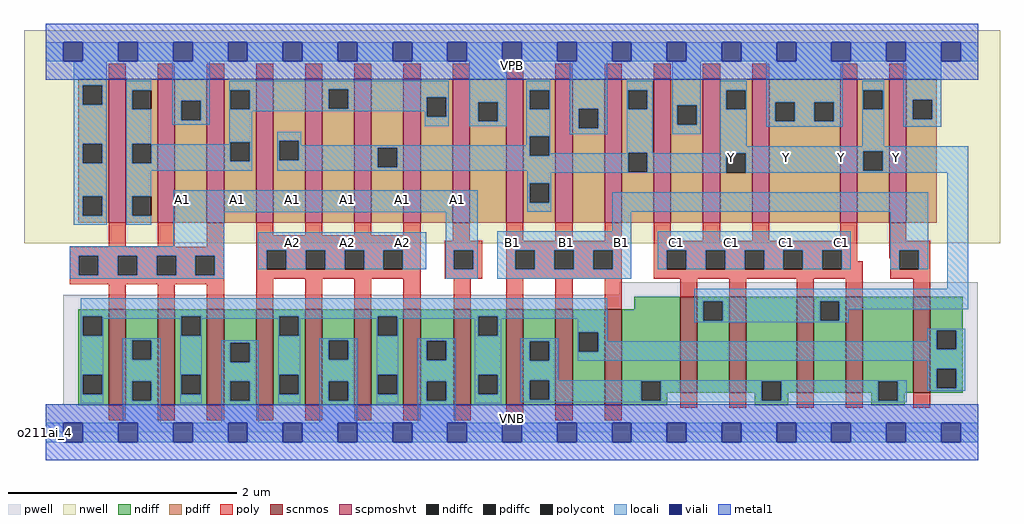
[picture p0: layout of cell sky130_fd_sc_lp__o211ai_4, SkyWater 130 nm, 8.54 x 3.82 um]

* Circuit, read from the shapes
.subckt sky130_fd_sc_lp__o211ai_4 A1 A2 B1 C1 VGND VNB VPB VPWR Y
XM1 VGND A1 n1 VNB sky130_fd_pr__nfet_01v8 w=0.84 l=0.15 m=4
XM2 n1 A2 VGND VNB sky130_fd_pr__nfet_01v8 w=0.84 l=0.15 m=4
XM3 n2 B1 n1 VNB sky130_fd_pr__nfet_01v8 w=0.84 l=0.15 m=4
XM4 Y C1 n2 VNB sky130_fd_pr__nfet_01v8 w=0.84 l=0.15 m=4
XM5 n3 A1 VPWR VPB sky130_fd_pr__pfet_01v8_hvt w=1.26 l=0.15 m=4
XM6 Y A2 n3 VPB sky130_fd_pr__pfet_01v8_hvt w=1.26 l=0.15 m=4
XM7 Y B1 VPWR VPB sky130_fd_pr__pfet_01v8_hvt w=1.26 l=0.15 m=4
XM8 VPWR C1 Y VPB sky130_fd_pr__pfet_01v8_hvt w=1.26 l=0.15 m=4
.ends

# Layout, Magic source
magic
tech sky130A
magscale 1 2
<< nwell >>
rect -38 331 1670 704
<< pwell >>
rect 1004 241 1631 263
rect 31 49 1631 241
rect 0 0 1632 49
<< scnmos >>
rect 110 47 140 215
rect 196 47 226 215
rect 282 47 312 215
rect 368 47 398 215
rect 454 47 484 215
rect 540 47 570 215
rect 626 47 656 215
rect 714 47 744 215
rect 806 47 836 215
rect 892 47 922 215
rect 978 47 1008 215
rect 1110 69 1140 237
rect 1196 69 1226 237
rect 1314 69 1344 237
rect 1400 69 1430 237
rect 1518 69 1548 237
<< scpmoshvt >>
rect 110 367 140 619
rect 196 367 226 619
rect 282 367 312 619
rect 368 367 398 619
rect 454 367 484 619
rect 540 367 570 619
rect 626 367 656 619
rect 712 367 742 619
rect 806 367 836 619
rect 892 367 922 619
rect 978 367 1008 619
rect 1064 367 1094 619
rect 1150 367 1180 619
rect 1236 367 1266 619
rect 1390 367 1420 619
rect 1476 367 1506 619
<< ndiff >>
rect 1030 215 1110 237
rect 57 203 110 215
rect 57 169 65 203
rect 99 169 110 203
rect 57 101 110 169
rect 57 67 65 101
rect 99 67 110 101
rect 57 47 110 67
rect 140 161 196 215
rect 140 127 151 161
rect 185 127 196 161
rect 140 89 196 127
rect 140 55 151 89
rect 185 55 196 89
rect 140 47 196 55
rect 226 203 282 215
rect 226 169 237 203
rect 271 169 282 203
rect 226 101 282 169
rect 226 67 237 101
rect 271 67 282 101
rect 226 47 282 67
rect 312 157 368 215
rect 312 123 323 157
rect 357 123 368 157
rect 312 89 368 123
rect 312 55 323 89
rect 357 55 368 89
rect 312 47 368 55
rect 398 203 454 215
rect 398 169 409 203
rect 443 169 454 203
rect 398 101 454 169
rect 398 67 409 101
rect 443 67 454 101
rect 398 47 454 67
rect 484 161 540 215
rect 484 127 495 161
rect 529 127 540 161
rect 484 89 540 127
rect 484 55 495 89
rect 529 55 540 89
rect 484 47 540 55
rect 570 203 626 215
rect 570 169 581 203
rect 615 169 626 203
rect 570 101 626 169
rect 570 67 581 101
rect 615 67 626 101
rect 570 47 626 67
rect 656 160 714 215
rect 656 126 667 160
rect 701 126 714 160
rect 656 89 714 126
rect 656 55 667 89
rect 701 55 714 89
rect 656 47 714 55
rect 744 203 806 215
rect 744 169 757 203
rect 791 169 806 203
rect 744 101 806 169
rect 744 67 757 101
rect 791 67 806 101
rect 744 47 806 67
rect 836 159 892 215
rect 836 125 847 159
rect 881 125 892 159
rect 836 91 892 125
rect 836 57 847 91
rect 881 57 892 91
rect 836 47 892 57
rect 922 175 978 215
rect 922 141 933 175
rect 967 141 978 175
rect 922 47 978 141
rect 1008 89 1110 215
rect 1008 55 1042 89
rect 1076 69 1110 89
rect 1140 229 1196 237
rect 1140 195 1151 229
rect 1185 195 1196 229
rect 1140 69 1196 195
rect 1226 89 1314 237
rect 1226 69 1253 89
rect 1076 55 1088 69
rect 1008 47 1088 55
rect 1241 55 1253 69
rect 1287 69 1314 89
rect 1344 229 1400 237
rect 1344 195 1355 229
rect 1389 195 1400 229
rect 1344 69 1400 195
rect 1430 89 1518 237
rect 1430 69 1457 89
rect 1287 55 1299 69
rect 1241 47 1299 55
rect 1445 55 1457 69
rect 1491 69 1518 89
rect 1548 179 1605 237
rect 1548 145 1559 179
rect 1593 145 1605 179
rect 1548 111 1605 145
rect 1548 77 1559 111
rect 1593 77 1605 111
rect 1548 69 1605 77
rect 1491 55 1503 69
rect 1445 47 1503 55
<< pdiff >>
rect 57 607 110 619
rect 57 573 65 607
rect 99 573 110 607
rect 57 505 110 573
rect 57 471 65 505
rect 99 471 110 505
rect 57 413 110 471
rect 57 379 65 413
rect 99 379 110 413
rect 57 367 110 379
rect 140 599 196 619
rect 140 565 151 599
rect 185 565 196 599
rect 140 505 196 565
rect 140 471 151 505
rect 185 471 196 505
rect 140 413 196 471
rect 140 379 151 413
rect 185 379 196 413
rect 140 367 196 379
rect 226 580 282 619
rect 226 546 237 580
rect 271 546 282 580
rect 226 367 282 546
rect 312 599 368 619
rect 312 565 323 599
rect 357 565 368 599
rect 312 508 368 565
rect 312 474 323 508
rect 357 474 368 508
rect 312 367 368 474
rect 398 510 454 619
rect 398 476 409 510
rect 443 476 454 510
rect 398 367 454 476
rect 484 600 540 619
rect 484 566 495 600
rect 529 566 540 600
rect 484 367 540 566
rect 570 498 626 619
rect 570 464 581 498
rect 615 464 626 498
rect 570 367 626 464
rect 656 586 712 619
rect 656 552 667 586
rect 701 552 712 586
rect 656 367 712 552
rect 742 578 806 619
rect 742 544 757 578
rect 791 544 806 578
rect 742 367 806 544
rect 836 599 892 619
rect 836 565 847 599
rect 881 565 892 599
rect 836 518 892 565
rect 836 484 847 518
rect 881 484 892 518
rect 836 436 892 484
rect 836 402 847 436
rect 881 402 892 436
rect 836 367 892 402
rect 922 566 978 619
rect 922 532 933 566
rect 967 532 978 566
rect 922 367 978 532
rect 1008 599 1064 619
rect 1008 565 1019 599
rect 1053 565 1064 599
rect 1008 489 1064 565
rect 1008 455 1019 489
rect 1053 455 1064 489
rect 1008 367 1064 455
rect 1094 572 1150 619
rect 1094 538 1105 572
rect 1139 538 1150 572
rect 1094 367 1150 538
rect 1180 599 1236 619
rect 1180 565 1191 599
rect 1225 565 1236 599
rect 1180 488 1236 565
rect 1180 454 1191 488
rect 1225 454 1236 488
rect 1180 367 1236 454
rect 1266 578 1390 619
rect 1266 544 1277 578
rect 1311 544 1345 578
rect 1379 544 1390 578
rect 1266 367 1390 544
rect 1420 599 1476 619
rect 1420 565 1431 599
rect 1465 565 1476 599
rect 1420 492 1476 565
rect 1420 458 1431 492
rect 1465 458 1476 492
rect 1420 367 1476 458
rect 1506 582 1559 619
rect 1506 548 1517 582
rect 1551 548 1559 582
rect 1506 367 1559 548
<< ndiffc >>
rect 65 169 99 203
rect 65 67 99 101
rect 151 127 185 161
rect 151 55 185 89
rect 237 169 271 203
rect 237 67 271 101
rect 323 123 357 157
rect 323 55 357 89
rect 409 169 443 203
rect 409 67 443 101
rect 495 127 529 161
rect 495 55 529 89
rect 581 169 615 203
rect 581 67 615 101
rect 667 126 701 160
rect 667 55 701 89
rect 757 169 791 203
rect 757 67 791 101
rect 847 125 881 159
rect 847 57 881 91
rect 933 141 967 175
rect 1042 55 1076 89
rect 1151 195 1185 229
rect 1253 55 1287 89
rect 1355 195 1389 229
rect 1457 55 1491 89
rect 1559 145 1593 179
rect 1559 77 1593 111
<< pdiffc >>
rect 65 573 99 607
rect 65 471 99 505
rect 65 379 99 413
rect 151 565 185 599
rect 151 471 185 505
rect 151 379 185 413
rect 237 546 271 580
rect 323 565 357 599
rect 323 474 357 508
rect 409 476 443 510
rect 495 566 529 600
rect 581 464 615 498
rect 667 552 701 586
rect 757 544 791 578
rect 847 565 881 599
rect 847 484 881 518
rect 847 402 881 436
rect 933 532 967 566
rect 1019 565 1053 599
rect 1019 455 1053 489
rect 1105 538 1139 572
rect 1191 565 1225 599
rect 1191 454 1225 488
rect 1277 544 1311 578
rect 1345 544 1379 578
rect 1431 565 1465 599
rect 1431 458 1465 492
rect 1517 548 1551 582
<< poly >>
rect 110 619 140 645
rect 196 619 226 645
rect 282 619 312 645
rect 368 619 398 645
rect 454 619 484 645
rect 540 619 570 645
rect 626 619 656 645
rect 712 619 742 645
rect 806 619 836 645
rect 892 619 922 645
rect 978 619 1008 645
rect 1064 619 1094 645
rect 1150 619 1180 645
rect 1236 619 1266 645
rect 1390 619 1420 645
rect 1476 619 1506 645
rect 110 325 140 367
rect 196 325 226 367
rect 282 325 312 367
rect 42 309 312 325
rect 42 275 58 309
rect 92 275 126 309
rect 160 275 194 309
rect 228 275 262 309
rect 296 275 312 309
rect 42 259 312 275
rect 110 215 140 259
rect 196 215 226 259
rect 282 215 312 259
rect 368 345 398 367
rect 454 345 484 367
rect 540 345 570 367
rect 626 345 656 367
rect 368 319 656 345
rect 712 335 742 367
rect 806 335 836 367
rect 892 335 922 367
rect 978 335 1008 367
rect 368 285 387 319
rect 421 285 455 319
rect 489 285 523 319
rect 557 285 591 319
rect 625 285 656 319
rect 368 269 656 285
rect 698 319 764 335
rect 698 285 714 319
rect 748 285 764 319
rect 698 269 764 285
rect 806 319 1008 335
rect 806 285 822 319
rect 856 285 890 319
rect 924 285 958 319
rect 992 285 1008 319
rect 806 269 1008 285
rect 1064 335 1094 367
rect 1150 335 1180 367
rect 1236 335 1266 367
rect 1390 335 1420 367
rect 1064 319 1420 335
rect 1064 285 1087 319
rect 1121 285 1155 319
rect 1189 285 1223 319
rect 1257 285 1291 319
rect 1325 285 1359 319
rect 1393 299 1420 319
rect 1476 335 1506 367
rect 1476 319 1548 335
rect 1476 305 1494 319
rect 1393 285 1430 299
rect 1064 269 1430 285
rect 1478 285 1494 305
rect 1528 285 1548 319
rect 1478 269 1548 285
rect 368 215 398 269
rect 454 215 484 269
rect 540 215 570 269
rect 626 215 656 269
rect 714 215 744 269
rect 806 215 836 269
rect 892 215 922 269
rect 978 215 1008 269
rect 1110 237 1140 269
rect 1196 237 1226 269
rect 1314 237 1344 269
rect 1400 237 1430 269
rect 1518 237 1548 269
rect 110 21 140 47
rect 196 21 226 47
rect 282 21 312 47
rect 368 21 398 47
rect 454 21 484 47
rect 540 21 570 47
rect 626 21 656 47
rect 714 21 744 47
rect 806 21 836 47
rect 892 21 922 47
rect 978 21 1008 47
rect 1110 43 1140 69
rect 1196 43 1226 69
rect 1314 43 1344 69
rect 1400 43 1430 69
rect 1518 43 1548 69
<< polycont >>
rect 58 275 92 309
rect 126 275 160 309
rect 194 275 228 309
rect 262 275 296 309
rect 387 285 421 319
rect 455 285 489 319
rect 523 285 557 319
rect 591 285 625 319
rect 714 285 748 319
rect 822 285 856 319
rect 890 285 924 319
rect 958 285 992 319
rect 1087 285 1121 319
rect 1155 285 1189 319
rect 1223 285 1257 319
rect 1291 285 1325 319
rect 1359 285 1393 319
rect 1494 285 1528 319
<< locali >>
rect 0 649 31 683
rect 65 649 127 683
rect 161 649 223 683
rect 257 649 319 683
rect 353 649 415 683
rect 449 649 511 683
rect 545 649 607 683
rect 641 649 703 683
rect 737 649 799 683
rect 833 649 895 683
rect 929 649 991 683
rect 1025 649 1087 683
rect 1121 649 1183 683
rect 1217 649 1279 683
rect 1313 649 1375 683
rect 1409 649 1471 683
rect 1505 649 1567 683
rect 1601 649 1632 683
rect 49 607 107 649
rect 49 573 65 607
rect 99 573 107 607
rect 49 505 107 573
rect 49 471 65 505
rect 99 471 107 505
rect 49 413 107 471
rect 49 379 65 413
rect 99 379 107 413
rect 49 363 107 379
rect 141 599 185 615
rect 141 565 151 599
rect 141 505 185 565
rect 221 580 287 649
rect 221 546 237 580
rect 271 546 287 580
rect 221 538 287 546
rect 321 600 705 615
rect 321 599 495 600
rect 321 565 323 599
rect 357 566 495 599
rect 529 586 705 600
rect 529 566 667 586
rect 357 565 667 566
rect 321 562 667 565
rect 141 471 151 505
rect 321 508 361 562
rect 663 552 667 562
rect 701 552 705 586
rect 663 536 705 552
rect 741 578 807 649
rect 741 544 757 578
rect 791 544 807 578
rect 741 536 807 544
rect 841 599 883 615
rect 841 565 847 599
rect 881 565 883 599
rect 321 504 323 508
rect 185 474 323 504
rect 357 474 361 508
rect 185 471 361 474
rect 141 458 361 471
rect 405 510 447 526
rect 405 476 409 510
rect 443 502 447 510
rect 841 518 883 565
rect 917 566 983 649
rect 917 532 933 566
rect 967 532 983 566
rect 917 522 983 532
rect 1017 599 1062 615
rect 1017 565 1019 599
rect 1053 565 1062 599
rect 841 502 847 518
rect 443 498 847 502
rect 443 476 581 498
rect 405 464 581 476
rect 615 484 847 498
rect 881 488 883 518
rect 1017 489 1062 565
rect 1096 572 1146 649
rect 1096 538 1105 572
rect 1139 538 1146 572
rect 1096 522 1146 538
rect 1180 599 1227 615
rect 1180 565 1191 599
rect 1225 565 1227 599
rect 1017 488 1019 489
rect 881 484 1019 488
rect 615 464 1019 484
rect 405 458 1019 464
rect 141 413 185 458
rect 843 455 1019 458
rect 1053 488 1062 489
rect 1180 501 1227 565
rect 1261 578 1395 649
rect 1261 544 1277 578
rect 1311 544 1345 578
rect 1379 544 1395 578
rect 1261 535 1395 544
rect 1429 599 1467 615
rect 1429 565 1431 599
rect 1465 565 1467 599
rect 1429 501 1467 565
rect 1501 582 1567 649
rect 1501 548 1517 582
rect 1551 548 1567 582
rect 1501 535 1567 548
rect 1180 492 1614 501
rect 1180 488 1431 492
rect 1053 455 1191 488
rect 843 454 1191 455
rect 1225 458 1431 488
rect 1465 458 1614 492
rect 1225 454 1614 458
rect 843 436 885 454
rect 141 379 151 413
rect 141 363 185 379
rect 223 385 756 424
rect 843 402 847 436
rect 881 402 885 436
rect 843 386 885 402
rect 991 386 1544 420
rect 223 326 312 385
rect 42 309 312 326
rect 42 275 58 309
rect 92 275 126 309
rect 160 275 194 309
rect 228 275 262 309
rect 296 275 312 309
rect 371 319 666 350
rect 371 285 387 319
rect 421 285 455 319
rect 489 285 523 319
rect 557 285 591 319
rect 625 285 666 319
rect 700 319 756 385
rect 991 352 1025 386
rect 700 285 714 319
rect 748 285 756 319
rect 42 269 312 275
rect 700 269 756 285
rect 790 319 1025 352
rect 790 285 822 319
rect 856 285 890 319
rect 924 285 958 319
rect 992 285 1025 319
rect 1071 319 1409 352
rect 1071 285 1087 319
rect 1121 285 1155 319
rect 1189 285 1223 319
rect 1257 285 1291 319
rect 1325 285 1359 319
rect 1393 285 1409 319
rect 1478 319 1544 386
rect 1478 285 1494 319
rect 1528 285 1544 319
rect 790 269 1025 285
rect 1578 251 1614 454
rect 61 203 983 235
rect 61 169 65 203
rect 99 199 237 203
rect 99 169 101 199
rect 61 101 101 169
rect 235 169 237 199
rect 271 199 409 203
rect 271 169 273 199
rect 61 67 65 101
rect 99 67 101 101
rect 61 51 101 67
rect 135 161 201 165
rect 135 127 151 161
rect 185 127 201 161
rect 135 89 201 127
rect 135 55 151 89
rect 185 55 201 89
rect 135 17 201 55
rect 235 101 273 169
rect 407 169 409 199
rect 443 199 581 203
rect 443 169 445 199
rect 235 67 237 101
rect 271 67 273 101
rect 235 51 273 67
rect 307 157 373 161
rect 307 123 323 157
rect 357 123 373 157
rect 307 89 373 123
rect 307 55 323 89
rect 357 55 373 89
rect 307 17 373 55
rect 407 101 445 169
rect 579 169 581 199
rect 615 199 757 203
rect 615 169 617 199
rect 407 67 409 101
rect 443 67 445 101
rect 407 51 445 67
rect 479 161 545 165
rect 479 127 495 161
rect 529 127 545 161
rect 479 89 545 127
rect 479 55 495 89
rect 529 55 545 89
rect 479 17 545 55
rect 579 101 617 169
rect 751 169 757 199
rect 791 199 983 203
rect 791 169 797 199
rect 579 67 581 101
rect 615 67 617 101
rect 579 51 617 67
rect 651 160 717 165
rect 651 126 667 160
rect 701 126 717 160
rect 651 89 717 126
rect 651 55 667 89
rect 701 55 717 89
rect 651 17 717 55
rect 751 101 797 169
rect 931 175 983 199
rect 1135 229 1614 251
rect 1135 195 1151 229
rect 1185 195 1355 229
rect 1389 215 1614 229
rect 1389 195 1405 215
rect 1135 193 1405 195
rect 751 67 757 101
rect 791 67 797 101
rect 751 51 797 67
rect 831 159 897 165
rect 831 125 847 159
rect 881 125 897 159
rect 931 141 933 175
rect 967 159 983 175
rect 1543 179 1609 181
rect 1543 159 1559 179
rect 967 145 1559 159
rect 1593 145 1609 179
rect 967 141 1609 145
rect 931 125 1609 141
rect 831 91 897 125
rect 1543 111 1609 125
rect 831 57 847 91
rect 881 89 1507 91
rect 881 57 1042 89
rect 831 55 1042 57
rect 1076 55 1253 89
rect 1287 55 1457 89
rect 1491 55 1507 89
rect 1543 77 1559 111
rect 1593 77 1609 111
rect 1543 73 1609 77
rect 831 53 1507 55
rect 0 -17 31 17
rect 65 -17 127 17
rect 161 -17 223 17
rect 257 -17 319 17
rect 353 -17 415 17
rect 449 -17 511 17
rect 545 -17 607 17
rect 641 -17 703 17
rect 737 -17 799 17
rect 833 -17 895 17
rect 929 -17 991 17
rect 1025 -17 1087 17
rect 1121 -17 1183 17
rect 1217 -17 1279 17
rect 1313 -17 1375 17
rect 1409 -17 1471 17
rect 1505 -17 1567 17
rect 1601 -17 1632 17
<< viali >>
rect 31 649 65 683
rect 127 649 161 683
rect 223 649 257 683
rect 319 649 353 683
rect 415 649 449 683
rect 511 649 545 683
rect 607 649 641 683
rect 703 649 737 683
rect 799 649 833 683
rect 895 649 929 683
rect 991 649 1025 683
rect 1087 649 1121 683
rect 1183 649 1217 683
rect 1279 649 1313 683
rect 1375 649 1409 683
rect 1471 649 1505 683
rect 1567 649 1601 683
rect 31 -17 65 17
rect 127 -17 161 17
rect 223 -17 257 17
rect 319 -17 353 17
rect 415 -17 449 17
rect 511 -17 545 17
rect 607 -17 641 17
rect 703 -17 737 17
rect 799 -17 833 17
rect 895 -17 929 17
rect 991 -17 1025 17
rect 1087 -17 1121 17
rect 1183 -17 1217 17
rect 1279 -17 1313 17
rect 1375 -17 1409 17
rect 1471 -17 1505 17
rect 1567 -17 1601 17
<< metal1 >>
rect 0 683 1632 715
rect 0 649 31 683
rect 65 649 127 683
rect 161 649 223 683
rect 257 649 319 683
rect 353 649 415 683
rect 449 649 511 683
rect 545 649 607 683
rect 641 649 703 683
rect 737 649 799 683
rect 833 649 895 683
rect 929 649 991 683
rect 1025 649 1087 683
rect 1121 649 1183 683
rect 1217 649 1279 683
rect 1313 649 1375 683
rect 1409 649 1471 683
rect 1505 649 1567 683
rect 1601 649 1632 683
rect 0 617 1632 649
rect 0 17 1632 49
rect 0 -17 31 17
rect 65 -17 127 17
rect 161 -17 223 17
rect 257 -17 319 17
rect 353 -17 415 17
rect 449 -17 511 17
rect 545 -17 607 17
rect 641 -17 703 17
rect 737 -17 799 17
rect 833 -17 895 17
rect 929 -17 991 17
rect 1025 -17 1087 17
rect 1121 -17 1183 17
rect 1217 -17 1279 17
rect 1313 -17 1375 17
rect 1409 -17 1471 17
rect 1505 -17 1567 17
rect 1601 -17 1632 17
rect 0 -49 1632 -17
<< labels >>
flabel pwell s 0 0 1632 49 0 FreeSans 200 0 0 0 VNB
port 6 nsew ground bidirectional
flabel nwell s 0 617 1632 666 0 FreeSans 200 0 0 0 VPB
port 7 nsew power bidirectional
rlabel comment s 0 0 0 0 4 o211ai_4
flabel metal1 s 0 617 1632 666 0 FreeSans 340 0 0 0 VPWR
port 8 nsew power bidirectional
flabel metal1 s 0 0 1632 49 0 FreeSans 340 0 0 0 VGND
port 5 nsew ground bidirectional
flabel locali s 223 390 257 424 0 FreeSans 340 0 0 0 A1
port 1 nsew signal input
flabel locali s 319 390 353 424 0 FreeSans 340 0 0 0 A1
port 1 nsew signal input
flabel locali s 415 390 449 424 0 FreeSans 340 0 0 0 A1
port 1 nsew signal input
flabel locali s 511 390 545 424 0 FreeSans 340 0 0 0 A1
port 1 nsew signal input
flabel locali s 607 390 641 424 0 FreeSans 340 0 0 0 A1
port 1 nsew signal input
flabel locali s 703 390 737 424 0 FreeSans 340 0 0 0 A1
port 1 nsew signal input
flabel locali s 1183 464 1217 498 0 FreeSans 340 0 0 0 Y
port 9 nsew signal output
flabel locali s 1279 464 1313 498 0 FreeSans 340 0 0 0 Y
port 9 nsew signal output
flabel locali s 1375 464 1409 498 0 FreeSans 340 0 0 0 Y
port 9 nsew signal output
flabel locali s 1471 464 1505 498 0 FreeSans 340 0 0 0 Y
port 9 nsew signal output
flabel locali s 1087 316 1121 350 0 FreeSans 340 0 0 0 C1
port 4 nsew signal input
flabel locali s 1183 316 1217 350 0 FreeSans 340 0 0 0 C1
port 4 nsew signal input
flabel locali s 1279 316 1313 350 0 FreeSans 340 0 0 0 C1
port 4 nsew signal input
flabel locali s 1375 316 1409 350 0 FreeSans 340 0 0 0 C1
port 4 nsew signal input
flabel locali s 415 316 449 350 0 FreeSans 340 0 0 0 A2
port 2 nsew signal input
flabel locali s 511 316 545 350 0 FreeSans 340 0 0 0 A2
port 2 nsew signal input
flabel locali s 607 316 641 350 0 FreeSans 340 0 0 0 A2
port 2 nsew signal input
flabel locali s 799 316 833 350 0 FreeSans 340 0 0 0 B1
port 3 nsew signal input
flabel locali s 895 316 929 350 0 FreeSans 340 0 0 0 B1
port 3 nsew signal input
flabel locali s 991 316 1025 350 0 FreeSans 340 0 0 0 B1
port 3 nsew signal input
<< properties >>
string LEFsite unit
string LEFclass CORE
string FIXED_BBOX 0 0 1632 666
string GDS_FILE $PDKPATH/libs.ref/sky130_fd_sc_lp/gds/sky130_fd_sc_lp.gds
string LEFsymmetry X Y R90
string GDS_END 6780132
string GDS_START 6766446
<< end >>
